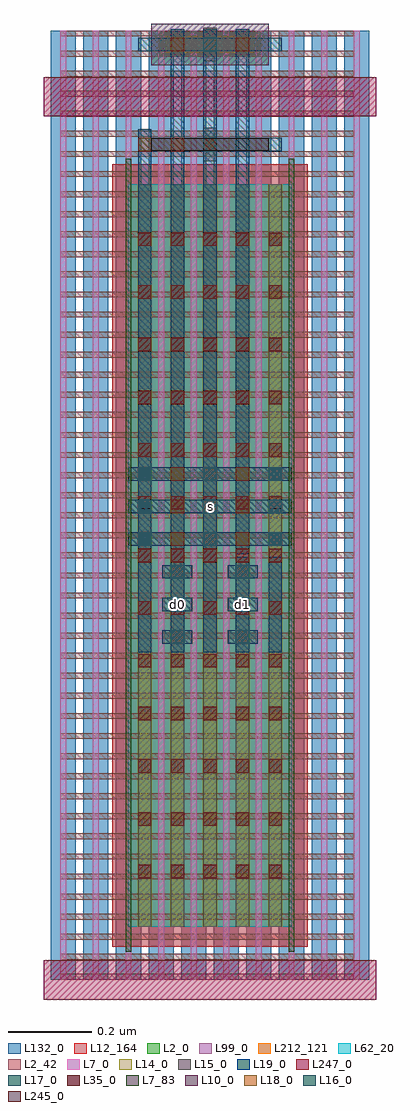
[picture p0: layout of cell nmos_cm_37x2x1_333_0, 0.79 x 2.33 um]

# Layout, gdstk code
import gdstk
lib = gdstk.Library(unit=1e-6, precision=1e-12)
def R(c, l, rs):  # rectangles x0, y0, x1, y1
    for r in rs: c.add(gdstk.rectangle(r[:2], r[2:], *l))
def A(c, l, x, y, w, h, nx, ny, dx, dy):  # array of equal rectangles
    R(c, l, [(x+i*dx, y+j*dy, x+i*dx+w, y+j*dy+h) for i in range(nx) for j in range(ny)])
L2_0 = (2, 0)
L2_42 = (2, 42)
L7_0 = (7, 0)
L7_83 = (7, 83)
L10_0 = (10, 0)
L12_164 = (12, 164)
L14_0 = (14, 0)
L15_0 = (15, 0)
L16_0 = (16, 0)
L17_0 = (17, 0)
L18_0 = (18, 0)
L19_0 = (19, 0)
L35_0 = (35, 0)
L62_20 = (62, 20)
L99_0 = (99, 0)
L132_0 = (132, 0)
L212_121 = (212, 121)
L245_0 = (245, 0)
L247_0 = (247, 0)

nmos_cm_37x2x1_333_0 = lib.new_cell('nmos_cm_37x2x1_333_0')
R(nmos_cm_37x2x1_333_0, L2_0, [(0.186,0.127,0.576,1.903), (0.2606,2.207,0.5014,2.267)])
A(nmos_cm_37x2x1_333_0, L2_42, 0.023, 0, 0.702, 0.014, 1, 48, 0, 0.048)
A(nmos_cm_37x2x1_333_0, L7_0, 0.023, 0, 0.014, 2.27, 10, 1, 0.078, 0)
R(nmos_cm_37x2x1_333_0, L7_83, [(0.179,0.067,0.193,1.963), (0.569,0.067,0.583,1.963)])
R(nmos_cm_37x2x1_333_0, L10_0, [(0.2406,2.187,0.5214,2.287)])
R(nmos_cm_37x2x1_333_0, L12_164, [(0.147,0.079,0.615,1.951)])
A(nmos_cm_37x2x1_333_0, L14_0, 0.208, 0.127, 0.034, 1.776, 5, 1, 0.078, 0)
R(nmos_cm_37x2x1_333_0, L14_0, [(0.2756,2.217,0.4864,2.257)])
A(nmos_cm_37x2x1_333_0, L15_0, 0.209, 0.127, 0.032, 1.776, 5, 1, 0.078, 0)
R(nmos_cm_37x2x1_333_0, L15_0, [(0.365,1.958,0.397,2.038), (0.365,2.197,0.397,2.277)])
A(nmos_cm_37x2x1_333_0, L16_0, 0.287, 0.804, 0.032, 0.032, 1, 3, 0, 0.078)
A(nmos_cm_37x2x1_333_0, L16_0, 0.443, 0.804, 0.032, 0.032, 1, 3, 0, 0.078)
A(nmos_cm_37x2x1_333_0, L16_0, 0.209, 1.038, 0.032, 0.032, 3, 3, 0.156, 0.078)
R(nmos_cm_37x2x1_333_0, L16_0, [(0.365,1.982,0.397,2.014), (0.365,2.221,0.397,2.253)])
A(nmos_cm_37x2x1_333_0, L17_0, 0.267, 0.804, 0.072, 0.032, 1, 3, 0, 0.078)
A(nmos_cm_37x2x1_333_0, L17_0, 0.423, 0.804, 0.072, 0.032, 1, 3, 0, 0.078)
A(nmos_cm_37x2x1_333_0, L17_0, 0.186, 1.038, 0.39, 0.032, 1, 3, 0, 0.078)
R(nmos_cm_37x2x1_333_0, L17_0, [(0.209,1.982,0.553,2.014), (0.209,2.221,0.553,2.253)])
A(nmos_cm_37x2x1_333_0, L18_0, 0.287, 0.804, 0.032, 0.032, 1, 3, 0, 0.078)
A(nmos_cm_37x2x1_333_0, L18_0, 0.443, 0.804, 0.032, 0.032, 1, 3, 0, 0.078)
A(nmos_cm_37x2x1_333_0, L18_0, 0.287, 1.038, 0.032, 0.032, 3, 3, 0.078, 0.078)
A(nmos_cm_37x2x1_333_0, L18_0, 0.209, 1.982, 0.032, 0.032, 3, 1, 0.078, 0)
A(nmos_cm_37x2x1_333_0, L18_0, 0.287, 2.221, 0.032, 0.032, 3, 1, 0.078, 0)
A(nmos_cm_37x2x1_333_0, L19_0, 0.209, 0.784, 0.032, 1.25, 3, 1, 0.078, 0)
A(nmos_cm_37x2x1_333_0, L19_0, 0.365, 0.784, 0.032, 0.228, 3, 1, 0.078, 0)
A(nmos_cm_37x2x1_333_0, L19_0, 0.287, 1.018, 0.032, 1.255, 3, 1, 0.078, 0)
A(nmos_cm_37x2x1_333_0, L35_0, 0.209, 0.243, 0.032, 0.032, 5, 13, 0.078, 0.126)
R(nmos_cm_37x2x1_333_0, L35_0, [(0.365,1.982,0.397,2.014), (0.365,2.221,0.397,2.253)])
R(nmos_cm_37x2x1_333_0, L62_20, [(0.186,0.127,0.576,1.903)])
R(nmos_cm_37x2x1_333_0, L99_0, [(0.186,0.127,0.576,1.903), (0.2706,2.212,0.4914,2.262)])
A(nmos_cm_37x2x1_333_0, L132_0, 0, 0, 0.06, 2.27, 10, 1, 0.078, 0)
R(nmos_cm_37x2x1_333_0, L212_121, [(0.186,0.127,0.576,1.903)])
R(nmos_cm_37x2x1_333_0, L245_0, [(0.241,1.983,0.521,2.013)])
R(nmos_cm_37x2x1_333_0, L247_0, [(-0.016,-0.047,0.778,0.047), (-0.016,2.065,0.778,2.159)])
nmos_cm_37x2x1_333_0.add(gdstk.Label('s', (0.381,1.132), layer=16, texttype=20))
nmos_cm_37x2x1_333_0.add(gdstk.Label('d1', (0.459,0.898), layer=16, texttype=20))
nmos_cm_37x2x1_333_0.add(gdstk.Label('d0', (0.303,0.898), layer=16, texttype=20))

lib.write_gds('nmos_cm_37x2x1_333_0.gds')
